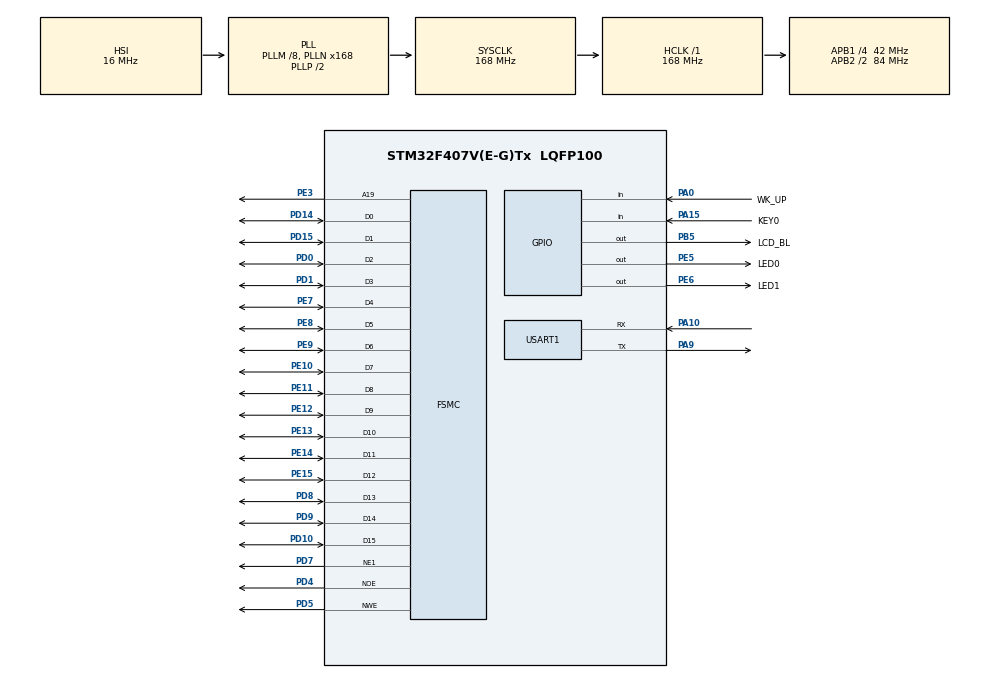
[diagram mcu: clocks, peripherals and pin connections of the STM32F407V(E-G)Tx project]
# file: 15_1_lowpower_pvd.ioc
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FSMC.AddressSetupTime1=15
FSMC.BusTurnAroundDuration1=0
FSMC.DataSetupTime1=60
FSMC.ExtendedAddressSetupTime1=9
FSMC.ExtendedDataSetupTime1=9
FSMC.ExtendedMode1=FSMC_EXTENDED_MODE_ENABLE
Mcu.Family=STM32F4
Mcu.Name=STM32F407V(E-G)Tx
Mcu.Package=LQFP100
NVIC.PriorityGroup=NVIC_PRIORITYGROUP_2
NVIC.USART1_IRQn=true\:2\:2\:true\:false\:true\:true\:true\:true
PA0-WKUP.GPIO_Label=WK_UP
PA0-WKUP.GPIO_PuPd=GPIO_PULLDOWN
PA0-WKUP.Signal=GPIO_Input
PA10.Mode=Asynchronous
PA10.Signal=USART1_RX
PA13.Mode=Serial_Wire
PA13.Signal=SYS_JTMS-SWDIO
PA14.Mode=Serial_Wire
PA14.Signal=SYS_JTCK-SWCLK
PA15.GPIO_Label=KEY0
PA15.GPIO_PuPd=GPIO_PULLDOWN
PA15.Signal=GPIO_Input
PA9.Mode=Asynchronous
PA9.Signal=USART1_TX
PB5.GPIO_Label=LCD_BL
PB5.GPIO_PuPd=GPIO_PULLUP
PB5.GPIO_Speed=GPIO_SPEED_FREQ_HIGH
PB5.PinState=GPIO_PIN_SET
PB5.Signal=GPIO_Output
PC14-OSC32_IN.Mode=LSE-External-Oscillator
PC14-OSC32_IN.Signal=RCC_OSC32_IN
PC15-OSC32_OUT.Mode=LSE-External-Oscillator
PC15-OSC32_OUT.Signal=RCC_OSC32_OUT
PD0.Mode=16b-d1
PD0.Signal=FSMC_D2
PD1.Mode=16b-d1
PD1.Signal=FSMC_D3
PD10.Mode=16b-d1
PD10.Signal=FSMC_D15
PD14.Mode=16b-d1
PD14.Signal=FSMC_D0
PD15.Mode=16b-d1
PD15.Signal=FSMC_D1
PD4.Mode=Lcd1
PD4.Signal=FSMC_NOE
PD5.Mode=Lcd1
PD5.Signal=FSMC_NWE
PD7.Mode=NorPsramChipSelect1_1
PD7.Signal=FSMC_NE1
PD8.Mode=16b-d1
PD8.Signal=FSMC_D13
PD9.Mode=16b-d1
PD9.Signal=FSMC_D14
PE10.Mode=16b-d1
PE10.Signal=FSMC_D7
PE11.Mode=16b-d1
PE11.Signal=FSMC_D8
PE12.Mode=16b-d1
PE12.Signal=FSMC_D9
PE13.Mode=16b-d1
PE13.Signal=FSMC_D10
PE14.Mode=16b-d1
PE14.Signal=FSMC_D11
PE15.Mode=16b-d1
PE15.Signal=FSMC_D12
PE3.Mode=A19_1
PE3.Signal=FSMC_A19
PE5.GPIO_Label=LED0
PE5.GPIO_PuPd=GPIO_PULLUP
PE5.GPIO_Speed=GPIO_SPEED_FREQ_HIGH
PE5.PinState=GPIO_PIN_SET
PE5.Signal=GPIO_Output
PE6.GPIO_Label=LED1
PE6.GPIO_PuPd=GPIO_PULLUP
PE6.GPIO_Speed=GPIO_SPEED_FREQ_HIGH
PE6.PinState=GPIO_PIN_SET
PE6.Signal=GPIO_Output
PE7.Mode=16b-d1
PE7.Signal=FSMC_D4
PE8.Mode=16b-d1
PE8.Signal=FSMC_D5
PE9.Mode=16b-d1
PE9.Signal=FSMC_D6
PH0-OSC_IN.Mode=HSE-External-Oscillator
PH0-OSC_IN.Signal=RCC_OSC_IN
PH1-OSC_OUT.Mode=HSE-External-Oscillator
PH1-OSC_OUT.Signal=RCC_OSC_OUT
ProjectManager.HeapSize=0x200
ProjectManager.StackSize=0x400
ProjectManager.TargetToolchain=STM32CubeIDE
RCC.48MHZClocksFreq_Value=84000000
RCC.AHBFreq_Value=168000000
RCC.APB1CLKDivider=RCC_HCLK_DIV4
RCC.APB1Freq_Value=42000000
RCC.APB1TimFreq_Value=84000000
RCC.APB2CLKDivider=RCC_HCLK_DIV2
RCC.APB2Freq_Value=84000000
RCC.APB2TimFreq_Value=168000000
RCC.CortexFreq_Value=168000000
RCC.HCLKFreq_Value=168000000
RCC.HSE_VALUE=25000000
RCC.HSI_VALUE=16000000
RCC.PLLM=8
RCC.PLLN=168
RCC.SYSCLKFreq_VALUE=168000000
RCC.SYSCLKSource=RCC_SYSCLKSOURCE_PLLCLK
RCC.VCOOutputFreq_Value=336000000
USART1.VirtualMode=VM_ASYNC
board=custom

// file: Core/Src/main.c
/**
 ****************************************************************************************************
 * @file        main.c
 * @author      ALIENTEK
 * @brief       lowpower_pvd code
 * @license     Copyright (C) 2012-2024, ALIENTEK
 ****************************************************************************************************
 * @attention
 *
 * platform     : ALIENTEK M100-STM32F407 board
 * website      : www.alientek.com
 * forum        : www.openedv.com/forum.php
 *
 * change logs  :
 * version      data         notes
 * V1.0         20240409     the first version
 *
 ****************************************************************************************************
 */

/* USER CODE BEGIN Header */

/* USER CODE END Header */
#include "main.h"
#include "usart.h"
#include "gpio.h"
#include "fsmc.h"

/* USER CODE BEGIN Includes */
#include "../../BSP/LED/led.h"
#include "../../BSP/KEY/key.h"
#include "../../BSP/LCD/lcd.h"
#include "../../BSP/PWR/pwr.h"
/* USER CODE END Includes */

/* USER CODE BEGIN PD */
/**
 * @brief   Displays information about the experiment
 * @param   None
 * @retval  None
 */
void stm32f407vg_show_mesg(void)
{
	/* The serial port outputs the experimental information */
	printf("\n");
	printf("********************************\r\n");
	printf("STM32F407\r\n");
	printf("Lowpower-PVD Test\r\n");
	printf("ATOM@ALIENTEK\r\n");
	printf("********************************\r\n");
	printf("\r\n");
}
/* USER CODE END PD */

void SystemClock_Config(void);

int main(void)
{
  /* USER CODE BEGIN 1 */
  uint8_t t = 0;
  /* USER CODE END 1 */

  /* MCU Configuration--------------------------------------------------------*/

  /* Reset of all peripherals, Initializes the Flash interface and the Systick. */
  HAL_Init();

  /* Configure the system clock */
  SystemClock_Config();

  /* Initialize all configured peripherals */
  MX_GPIO_Init();
  MX_USART1_UART_Init();
  MX_FSMC_Init();
  /* USER CODE BEGIN 2 */
  pwr_pvd_init(PWR_PVDLEVEL_7);
  lcd_init();                                         /* Initialize LCD */
  stm32f407vg_show_mesg();
  lcd_show_string(30, 50, 200, 16, 16, "STM32", RED);
  lcd_show_string(30, 70, 200, 16, 16, "PVD TEST", RED);
  lcd_show_string(30, 90, 200, 16, 16, "ATOM@ALIENTEK", RED);

  /* The default LCD display voltage is normal */
  lcd_show_string(30, 120, 200, 16, 16, "PVD Voltage OK! ",RED);
  /* USER CODE END 2 */

  /* Infinite loop */
  /* USER CODE BEGIN WHILE */
  while (1)
  {
	  t++;
	  if ((t % 20) == 0)
	  {
	  	  LED0_TOGGLE();  /* flashing LED0 indicates that the system is running */
	  }

	  HAL_Delay(10);   	  /* delay 10ms */
    /* USER CODE END WHILE */

  }
}

void SystemClock_Config(void)
{
  RCC_OscInitTypeDef RCC_OscInitStruct = {0};
  RCC_ClkInitTypeDef RCC_ClkInitStruct = {0};

  /** Configure the main internal regulator output voltage
  */
  __HAL_RCC_PWR_CLK_ENABLE();
  __HAL_PWR_VOLTAGESCALING_CONFIG(PWR_REGULATOR_VOLTAGE_SCALE1);

  /** Initializes the RCC Oscillators according to the specified parameters
  * in the RCC_OscInitTypeDef structure.
  */
  RCC_OscInitStruct.OscillatorType = RCC_OSCILLATORTYPE_HSI;
  RCC_OscInitStruct.HSIState = RCC_HSI_ON;
  RCC_OscInitStruct.HSICalibrationValue = RCC_HSICALIBRATION_DEFAULT;
  RCC_OscInitStruct.PLL.PLLState = RCC_PLL_ON;
  RCC_OscInitStruct.PLL.PLLSource = RCC_PLLSOURCE_HSI;
  RCC_OscInitStruct.PLL.PLLM = 8;
  RCC_OscInitStruct.PLL.PLLN = 168;
  RCC_OscInitStruct.PLL.PLLP = RCC_PLLP_DIV2;
  RCC_OscInitStruct.PLL.PLLQ = 4;
  if (HAL_RCC_OscConfig(&RCC_OscInitStruct) != HAL_OK)
  {
    Error_Handler();
  }

  /** Initializes the CPU, AHB and APB buses clocks
  */
  RCC_ClkInitStruct.ClockType = RCC_CLOCKTYPE_HCLK|RCC_CLOCKTYPE_SYSCLK
                              |RCC_CLOCKTYPE_PCLK1|RCC_CLOCKTYPE_PCLK2;
  RCC_ClkInitStruct.SYSCLKSource = RCC_SYSCLKSOURCE_PLLCLK;
  RCC_ClkInitStruct.AHBCLKDivider = RCC_SYSCLK_DIV1;
  RCC_ClkInitStruct.APB1CLKDivider = RCC_HCLK_DIV4;
  RCC_ClkInitStruct.APB2CLKDivider = RCC_HCLK_DIV2;

  if (HAL_RCC_ClockConfig(&RCC_ClkInitStruct, FLASH_LATENCY_5) != HAL_OK)
  {
    Error_Handler();
  }
}

void Error_Handler(void)
{
  __disable_irq();
  while (1)
  {
  }
}
